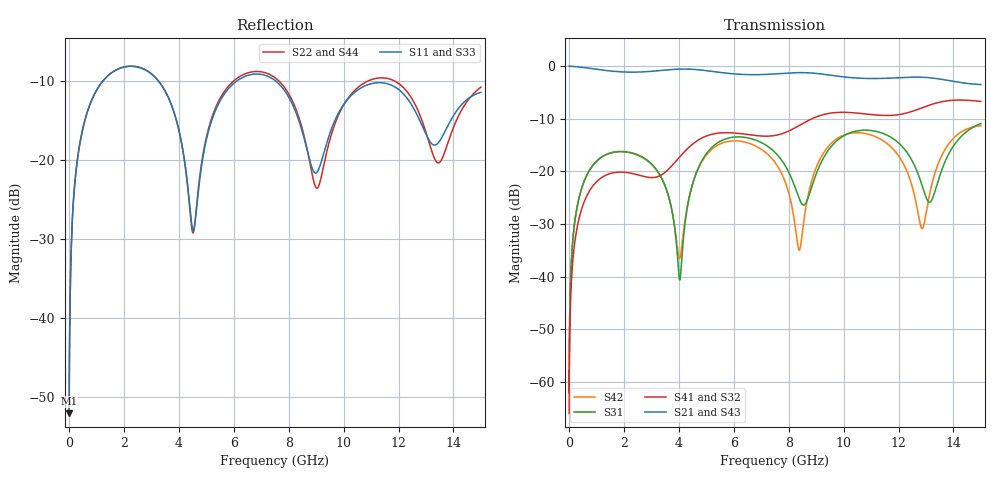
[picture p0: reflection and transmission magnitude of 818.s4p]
! Created with skrf 1.8.0 (http://scikit-rf.org).
# GHz S RI R 50.0
!freq ReS11 ImS11 ReS12 ImS12 ReS13 ImS13
! ReS14 ImS14
! ReS21 ImS21 ReS22 ImS22 ReS23 ImS23
! ReS24 ImS24
! ReS31 ImS31 ReS32 ImS32 ReS33 ImS33
! ReS34 ImS34
! ReS41 ImS41 ReS42 ImS42 ReS43 ImS43
! ReS44 ImS44
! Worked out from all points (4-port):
!   2499 points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, 5 MHz to 15 GHz, reference 50 ohm
!   strongest paths, dB at 5 MHz, 3.476 GHz, 7.19 GHz, 11.1 GHz, 15 GHz:
!     S21: 0.0, -0.8, -1.6, -2.4, -3.5
!     S43: 0.0, -0.8, -1.6, -2.4, -3.5
!     S41: -65.9, -20.3, -13.3, -9.2, -6.7
!     S32: -65.9, -20.3, -13.3, -9.3, -6.7
!     S31: -62.0, -22.4, -15.1, -12.3, -10.9
!     S42: -62.0, -22.5, -16.5, -13.3, -11.3
!   lowest |S11| = -52.1 dB at 5 MHz (marker M1), VSWR 1.00, Z = 50.2 + j0.151 ohm
!   |S11| at or under -10 dB: start of sweep to 1.229 GHz; 3.264 GHz to 6.098 GHz (2.833 GHz wide, 60.5 % of centre); 7.537 GHz to end of sweep
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0.005  0.00198 0.00151  0.998 -0.00386  0.000101 0.000792  -9.8e-05 -0.000497
       0.998 -0.00386  0.00198 0.00151  -9.8e-05 -0.000497  0.000101 0.000792
       0.000101 0.000792  -9.8e-05 -0.000497  0.00198 0.00151  0.998 -0.00386
       -9.8e-05 -0.000497  0.000101 0.000792  0.998 -0.00386  0.00198 0.00151
0.2626094  0.0255 0.0834  0.9654 -0.2021  0.0116 0.0394  -0.00964 -0.0244
           0.9654 -0.2021  0.0256 0.0834  -0.00964 -0.0244  0.0115 0.0395
           0.0116 0.0394  -0.00964 -0.0244  0.0255 0.0834  0.9654 -0.2021
           -0.00964 -0.0244  0.0115 0.0395  0.9654 -0.2021  0.0256 0.0834
1.269279  0.268 0.1791  0.5545 -0.7253  0.1274 0.0608  -0.0898 -0.00729
          0.5545 -0.7253  0.2686 0.1786  -0.0898 -0.0073  0.1257 0.0631
          0.1274 0.0608  -0.0898 -0.0073  0.2679 0.1791  0.5546 -0.7253
          -0.0898 -0.00729  0.1257 0.0631  0.5546 -0.7253  0.2685 0.1786
4.395581  0.0366 -0.0371  -0.9241 -0.1426  -0.00109 0.0592  -0.0236 0.1704
          -0.9241 -0.1426  0.0352 -0.0354  -0.0237 0.1704  -0.0125 0.0588
          -0.00109 0.0592  -0.0237 0.1704  0.0365 -0.0356  -0.9242 -0.1424
          -0.0236 0.1704  -0.0125 0.0588  -0.9242 -0.1424  0.0348 -0.034
9.053772  0.0844 0.00841  0.8401 0.1241  -0.00825 0.102  0.0392 -0.3306
          0.8401 0.1241  0.0667 -0.00184  0.0394 -0.3304  0.00823 0.1168
          -0.00825 0.102  0.0394 -0.3304  0.0855 0.0085  0.8398 0.1268
          0.0392 -0.3306  0.00823 0.1168  0.8398 0.1268  0.0656 -0.00215
11.91747  0.2772 -0.0762  -0.1043 -0.7663  0.1149 -0.1571  -0.3277 0.1034
          -0.1043 -0.7663  0.2966 -0.1007  -0.3277 0.1026  0.1152 -0.0969
          0.1149 -0.1571  -0.3277 0.1026  0.2748 -0.0739  -0.0996 -0.7682
          -0.3277 0.1034  0.1152 -0.0969  -0.0996 -0.7682  0.2938 -0.0982
15  0.2682 0.0178  -0.5314 0.4055  0.2817 0.0413  0.3568 0.2931
    -0.5314 0.4055  0.2834 0.0607  0.3555 0.2936  0.2484 0.1087
    0.2817 0.0413  0.3555 0.2936  0.2714 0.0226  -0.5366 0.398
    0.3568 0.2931  0.2484 0.1087  -0.5366 0.398  0.2822 0.0672
